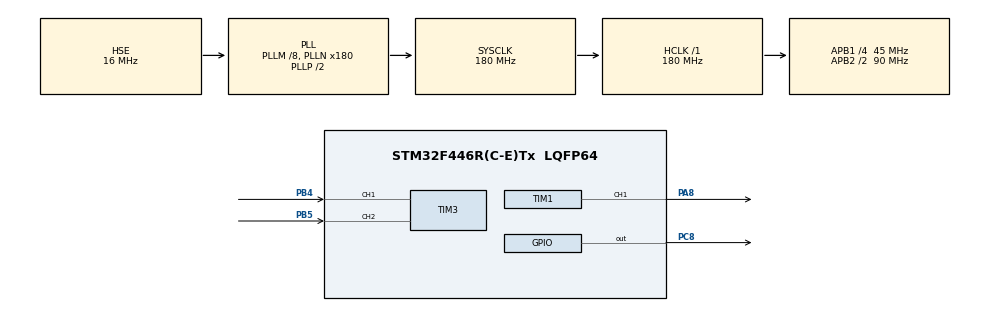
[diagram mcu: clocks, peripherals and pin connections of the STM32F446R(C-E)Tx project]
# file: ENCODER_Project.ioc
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Mcu.Family=STM32F4
Mcu.Name=STM32F446R(C-E)Tx
Mcu.Package=LQFP64
NVIC.PriorityGroup=NVIC_PRIORITYGROUP_4
PA13.Mode=Serial_Wire
PA13.Signal=SYS_JTMS-SWDIO
PA14.Mode=Serial_Wire
PA14.Signal=SYS_JTCK-SWCLK
PA8.Signal=S_TIM1_CH1
PB4.GPIO_PuPd=GPIO_PULLUP
PB4.Signal=S_TIM3_CH1
PB5.GPIO_PuPd=GPIO_PULLUP
PB5.Signal=S_TIM3_CH2
PC8.Signal=GPIO_Output
PH0-OSC_IN.Mode=HSE-External-Oscillator
PH0-OSC_IN.Signal=RCC_OSC_IN
PH1-OSC_OUT.Mode=HSE-External-Oscillator
PH1-OSC_OUT.Signal=RCC_OSC_OUT
ProjectManager.HeapSize=0x200
ProjectManager.StackSize=0x400
ProjectManager.TargetToolchain=STM32CubeIDE
RCC.AHBFreq_Value=180000000
RCC.APB1CLKDivider=RCC_HCLK_DIV4
RCC.APB1Freq_Value=45000000
RCC.APB1TimFreq_Value=90000000
RCC.APB2CLKDivider=RCC_HCLK_DIV2
RCC.APB2Freq_Value=90000000
RCC.APB2TimFreq_Value=180000000
RCC.CortexFreq_Value=180000000
RCC.HCLKFreq_Value=180000000
RCC.HSE_VALUE=16000000
RCC.PLLM=8
RCC.PLLN=180
RCC.PLLSourceVirtual=RCC_PLLSOURCE_HSE
RCC.SYSCLKFreq_VALUE=180000000
RCC.SYSCLKSource=RCC_SYSCLKSOURCE_PLLCLK
RCC.USBFreq_Value=180000000
RCC.VCOOutputFreq_Value=360000000
SH.S_TIM1_CH1.0=TIM1_CH1,PWM Generation1 CH1
SH.S_TIM3_CH1.0=TIM3_CH1,Encoder_Interface
SH.S_TIM3_CH2.0=TIM3_CH2,Encoder_Interface
TIM1.Channel-PWM\ Generation1\ CH1=TIM_CHANNEL_1
TIM1.Period=1000-1
TIM1.Prescaler=9-1
TIM3.EncoderMode=TIM_ENCODERMODE_TI12
TIM3.IC1Filter=5
TIM3.IC2Filter=5
board=custom

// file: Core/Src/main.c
/* USER CODE BEGIN Header */
/**
  ******************************************************************************
  * @file           : main.c
  * @brief          : Main program body
  ******************************************************************************
  * @attention
  *
  * Copyright (c) 2024 STMicroelectronics.
  * All rights reserved.
  *
  * This software is licensed under terms that can be found in the LICENSE file
  * in the root directory of this software component.
  * If no LICENSE file comes with this software, it is provided AS-IS.
  *
  ******************************************************************************
  */
/* USER CODE END Header */
#include "main.h"
#include "tim.h"
#include "gpio.h"

/* USER CODE BEGIN PV */
#define ENCODER_MAX 65535

/* USER CODE END PV */

void SystemClock_Config(void);

/* USER CODE BEGIN 0 */
float duty_percent = 0;
float duty_torque = 0;
int32_t encoder_value = 0;
int32_t pre_encoder_value = 0;
int32_t motor_pos = 0;
/* USER CODE END 0 */

int main(void)
{

  /* MCU Configuration--------------------------------------------------------*/

  /* Reset of all peripherals, Initializes the Flash interface and the Systick. */
  HAL_Init();

  /* Configure the system clock */
  SystemClock_Config();

  /* Initialize all configured peripherals */
  MX_GPIO_Init();
  MX_TIM3_Init();
  MX_TIM1_Init();
  /* USER CODE BEGIN 2 */
  HAL_TIM_PWM_Start(&htim1, TIM_CHANNEL_1);
  HAL_TIMEx_PWMN_Start(&htim1, TIM_CHANNEL_1);
  HAL_TIM_Encoder_Start(&htim3, TIM_CHANNEL_ALL);
  /* USER CODE END 2 */

  /* Infinite loop */
  while (1)
  {

    /* USER CODE BEGIN 3 */
	  encoder_value = (int16_t)TIM3->CNT;

	  if (encoder_value > pre_encoder_value && (encoder_value - pre_encoder_value) > ENCODER_MAX / 2)
	  {
	      motor_pos--;//오버플로우
	  }
	  else if (encoder_value < pre_encoder_value && (pre_encoder_value - encoder_value) > ENCODER_MAX / 2)
	  {L
	      motor_pos++;//언더플로우
	  }
	  else
	  {
	      if (encoder_value > pre_encoder_value)
	      {
	          motor_pos++;
	      }
	      else if (encoder_value < pre_encoder_value)
	      {
	          motor_pos--;
	      }
	  }

	  duty_torque = duty_percent * 1000;

	  if(duty_percent > 0)
	  {
		  HAL_GPIO_WritePin(GPIOC, GPIO_PIN_8, 0);
		  TIM1->CCR1 = duty_torque;
	  }
	  else if(duty_percent < 0)
	  {
		  HAL_GPIO_WritePin(GPIOC, GPIO_PIN_8, 1);
		  TIM1->CCR1 = duty_torque * -1;
	  }
	  else if(duty_percent == 0)
	  {
		  HAL_GPIO_WritePin(GPIOC, GPIO_PIN_8, 0);
		  TIM1->CCR1 = duty_torque;
	  }

	  pre_encoder_value = encoder_value;
  }
  /* USER CODE END 3 */
}

void SystemClock_Config(void)
{
  RCC_OscInitTypeDef RCC_OscInitStruct = {0};
  RCC_ClkInitTypeDef RCC_ClkInitStruct = {0};

  /** Configure the main internal regulator output voltage
  */
  __HAL_RCC_PWR_CLK_ENABLE();
  __HAL_PWR_VOLTAGESCALING_CONFIG(PWR_REGULATOR_VOLTAGE_SCALE1);

  /** Initializes the RCC Oscillators according to the specified parameters
  * in the RCC_OscInitTypeDef structure.
  */
  RCC_OscInitStruct.OscillatorType = RCC_OSCILLATORTYPE_HSE;
  RCC_OscInitStruct.HSEState = RCC_HSE_ON;
  RCC_OscInitStruct.PLL.PLLState = RCC_PLL_ON;
  RCC_OscInitStruct.PLL.PLLSource = RCC_PLLSOURCE_HSE;
  RCC_OscInitStruct.PLL.PLLM = 8;
  RCC_OscInitStruct.PLL.PLLN = 180;
  RCC_OscInitStruct.PLL.PLLP = RCC_PLLP_DIV2;
  RCC_OscInitStruct.PLL.PLLQ = 2;
  RCC_OscInitStruct.PLL.PLLR = 2;
  if (HAL_RCC_OscConfig(&RCC_OscInitStruct) != HAL_OK)
  {
    Error_Handler();
  }

  /** Activate the Over-Drive mode
  */
  if (HAL_PWREx_EnableOverDrive() != HAL_OK)
  {
    Error_Handler();
  }

  /** Initializes the CPU, AHB and APB buses clocks
  */
  RCC_ClkInitStruct.ClockType = RCC_CLOCKTYPE_HCLK|RCC_CLOCKTYPE_SYSCLK
                              |RCC_CLOCKTYPE_PCLK1|RCC_CLOCKTYPE_PCLK2;
  RCC_ClkInitStruct.SYSCLKSource = RCC_SYSCLKSOURCE_PLLCLK;
  RCC_ClkInitStruct.AHBCLKDivider = RCC_SYSCLK_DIV1;
  RCC_ClkInitStruct.APB1CLKDivider = RCC_HCLK_DIV4;
  RCC_ClkInitStruct.APB2CLKDivider = RCC_HCLK_DIV2;

  if (HAL_RCC_ClockConfig(&RCC_ClkInitStruct, FLASH_LATENCY_5) != HAL_OK)
  {
    Error_Handler();
  }
}

void Error_Handler(void)
{
  __disable_irq();
  while (1)
  {
  }
}
